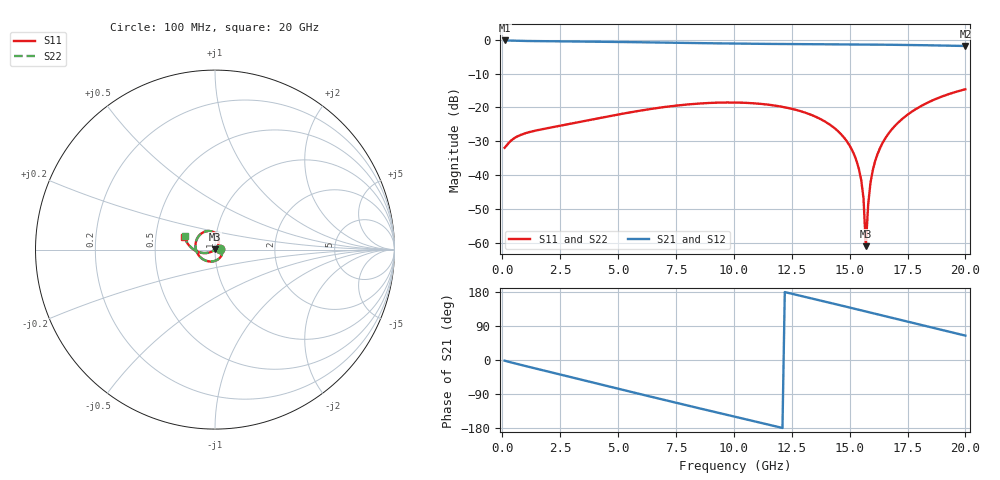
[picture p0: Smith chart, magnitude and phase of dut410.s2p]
! Touchstone file exported from HFSS 2026.1.0
!  File:  C:/ffzhzh/LocalFiles/Ansys_Project_Files/temp_train_TSV_RDL_410_1783093793_53076.aedt
!  Generated:  11:57:32 PM Jul  3, 2026
!  Design:  TSV_RDL
!  Project:  temp_train_TSV_RDL_410_1783093793_53076
! Variables:
!  h_bsmrdl = 2.89um
!  h_ox = 20um
!  h_rdl = 5um
!  h_sub = 67.42um
!  h_tmrdl = 3.9um
!  h_tsv = 67.42um
!  h_via = 3um
!  l_bsmrdl = 816.94um
!  l_sub = 4916.6um
!  l_tmrdl = 486.16um
!  m_sub = 200um
!  pitch = 24.72um
!  r_tsv = 7.33um
!  s_tmrdl = 10um
!  w_bsmrdl = 23.07um
!  w_sub = 500um
!  w_tmrdl = 17.31um
!  x_tsv_center1 = 494.815um
!  x_tsv_center2 = 1334.825um
!  x_tsv_center3 = 1838.295um
!  x_tsv_center4 = 2678.305um
!  x_tsv_center5 = 3181.775um
!  x_tsv_center6 = 4021.785um
# GHz S MA R 50.000000
! Terminal data exported
! Port[1] = TM_RDL1_1_T1
! Port[2] = TM_RDL5_1_T1
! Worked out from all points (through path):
!   200 points, 100 MHz to 20 GHz, reference 50 ohm
!   highest |S21| = -0.22 dB at 100 MHz (marker M1); lowest = -1.9 dB at 20 GHz (marker M2)
!   group delay of S21, straight-line fit = 40.8 ps
!   lowest |S11| = -61.1 dB at 15.7 GHz (marker M3), VSWR 1.00, Z = 50 + j0.0877 ohm
!   |S11| at or under -10 dB: start of sweep to end of sweep
!   |S22| runs from -55.6 to -14.7 dB; largest |S21 - S12| = 4.7e-14
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0.1  0.0252 5.8  0.975 -1.8  0.975 -1.8  0.0252 5.8
! Gamma 0 0 0 0
! Port Impedance 50 0 50 0
0.9  0.04033 -10.6  0.9593 -14.3  0.9593 -14.3  0.04033 -10.6
3.5  0.06212 -88.4  0.939 -53.4  0.939 -53.4  0.0621 -88.4
5.2  0.0805 -130.6  0.9247 -78.8  0.9247 -78.8  0.08047 -130.6
6.8  0.09882 -165.6  0.9087 -102.5  0.9087 -102.5  0.09879 -165.6
8.3  0.1124 164.8  0.8932 -124.4  0.8932 -124.4  0.1124 164.9
10.1  0.1177 132.3  0.8766 -150.5  0.8766 -150.5  0.1177 132.4
11.8  0.1058 103.8  0.865 -175.0  0.865 -175.0  0.1058 104.0
13.4  0.07593 78.2  0.8577 161.9  0.8577 161.9  0.07597 78.5
14.5  0.04434 61.2  0.8537 145.8  0.8537 145.8  0.0444 62.0
15.2  0.01984 51.4  0.8508 135.5  0.8508 135.5  0.01995 53.6
15.4  0.01229 49.6  0.8499 132.6  0.8499 132.6  0.01243 53.2
15.5  0.008432 49.6  0.8495 131.1  0.8495 131.1  0.008605 54.8
15.6  0.004536 52.4  0.849 129.6  0.849 129.6  0.004801 61.7
15.7  0.0008838 97.0  0.8485 128.1  0.8485 128.1  0.001652 111.2
15.8  0.003601 -151.6  0.848 126.6  0.848 126.6  0.003789 -164.3
15.9  0.007638 -147.0  0.8474 125.2  0.8474 125.2  0.00769 -153.4
16  0.01175 -146.6  0.8469 123.7  0.8469 123.7  0.01176 -150.8
16.3  0.02438 -149.4  0.8451 119.2  0.8451 119.2  0.02434 -151.5
16.7  0.04176 -154.8  0.8425 113.3  0.8425 113.3  0.04169 -156.1
18  0.1005 -173.9  0.8314 93.9  0.8314 93.9  0.1004 -174.6
20  0.185 156.9  0.8078 64.3  0.8078 64.3  0.1848 156.4
